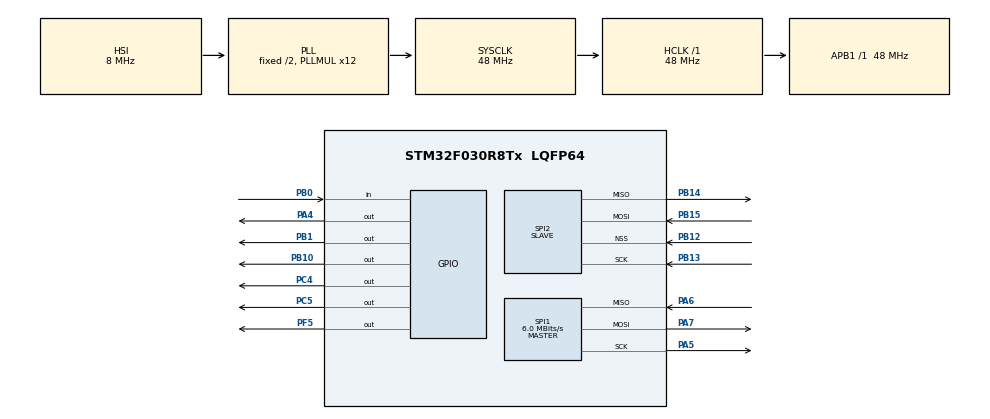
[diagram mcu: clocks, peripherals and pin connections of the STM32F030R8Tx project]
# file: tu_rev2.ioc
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Dma.Request0=SPI2_RX
Dma.Request1=SPI2_TX
Dma.Request2=SPI1_RX
Dma.Request3=SPI1_TX
Dma.SPI1_RX.2.Direction=DMA_PERIPH_TO_MEMORY
Dma.SPI1_RX.2.Instance=DMA1_Channel2
Dma.SPI1_RX.2.MemDataAlignment=DMA_MDATAALIGN_BYTE
Dma.SPI1_RX.2.MemInc=DMA_MINC_ENABLE
Dma.SPI1_RX.2.Mode=DMA_NORMAL
Dma.SPI1_RX.2.PeriphDataAlignment=DMA_PDATAALIGN_BYTE
Dma.SPI1_RX.2.PeriphInc=DMA_PINC_DISABLE
Dma.SPI1_RX.2.Priority=DMA_PRIORITY_VERY_HIGH
Dma.SPI1_TX.3.Direction=DMA_MEMORY_TO_PERIPH
Dma.SPI1_TX.3.Instance=DMA1_Channel3
Dma.SPI1_TX.3.MemDataAlignment=DMA_MDATAALIGN_BYTE
Dma.SPI1_TX.3.MemInc=DMA_MINC_ENABLE
Dma.SPI1_TX.3.Mode=DMA_NORMAL
Dma.SPI1_TX.3.PeriphDataAlignment=DMA_PDATAALIGN_BYTE
Dma.SPI1_TX.3.PeriphInc=DMA_PINC_DISABLE
Dma.SPI1_TX.3.Priority=DMA_PRIORITY_VERY_HIGH
Dma.SPI2_RX.0.Direction=DMA_PERIPH_TO_MEMORY
Dma.SPI2_RX.0.Instance=DMA1_Channel4
Dma.SPI2_RX.0.MemDataAlignment=DMA_MDATAALIGN_BYTE
Dma.SPI2_RX.0.MemInc=DMA_MINC_ENABLE
Dma.SPI2_RX.0.Mode=DMA_NORMAL
Dma.SPI2_RX.0.PeriphDataAlignment=DMA_PDATAALIGN_BYTE
Dma.SPI2_RX.0.PeriphInc=DMA_PINC_DISABLE
Dma.SPI2_RX.0.Priority=DMA_PRIORITY_VERY_HIGH
Dma.SPI2_TX.1.Direction=DMA_MEMORY_TO_PERIPH
Dma.SPI2_TX.1.Instance=DMA1_Channel5
Dma.SPI2_TX.1.MemDataAlignment=DMA_MDATAALIGN_BYTE
Dma.SPI2_TX.1.MemInc=DMA_MINC_ENABLE
Dma.SPI2_TX.1.Mode=DMA_NORMAL
Dma.SPI2_TX.1.PeriphDataAlignment=DMA_PDATAALIGN_BYTE
Dma.SPI2_TX.1.PeriphInc=DMA_PINC_DISABLE
Dma.SPI2_TX.1.Priority=DMA_PRIORITY_VERY_HIGH
IWDG.Prescaler=IWDG_PRESCALER_256
IWDG.Reload=4090
IWDG.Window=4095
Mcu.Family=STM32F0
Mcu.Name=STM32F030R8Tx
Mcu.Package=LQFP64
NVIC.DMA1_Channel2_3_IRQn=true\:0\:0\:true\:false\:true\:false\:true\:true
NVIC.DMA1_Channel4_5_IRQn=true\:0\:0\:false\:false\:true\:false\:true\:true
NVIC.SPI1_IRQn=true\:0\:0\:false\:false\:true\:true\:true\:true
NVIC.SPI2_IRQn=true\:0\:0\:false\:false\:true\:true\:true\:true
PA13.GPIO_Label=SWDIO
PA13.Mode=Serial_Wire
PA13.Signal=SYS_SWDIO
PA14.GPIO_Label=SWCLK
PA14.Mode=Serial_Wire
PA14.Signal=SYS_SWCLK
PA4.PinState=GPIO_PIN_SET
PA4.Signal=GPIO_Output
PA5.Mode=Full_Duplex_Master
PA5.Signal=SPI1_SCK
PA6.Mode=Full_Duplex_Master
PA6.Signal=SPI1_MISO
PA7.Mode=Full_Duplex_Master
PA7.Signal=SPI1_MOSI
PB0.GPIO_PuPd=GPIO_PULLUP
PB0.Signal=GPIO_Input
PB1.Signal=GPIO_Output
PB10.Signal=GPIO_Output
PB12.Mode=NSS_Signal_Hard_Input
PB12.Signal=SPI2_NSS
PB13.Mode=Full_Duplex_Slave
PB13.Signal=SPI2_SCK
PB14.Mode=Full_Duplex_Slave
PB14.Signal=SPI2_MISO
PB15.Mode=Full_Duplex_Slave
PB15.Signal=SPI2_MOSI
PC4.GPIO_Speed=GPIO_SPEED_FREQ_LOW
PC4.Signal=GPIO_Output
PC5.GPIO_Speed=GPIO_SPEED_FREQ_LOW
PC5.Signal=GPIO_Output
PF5.PinState=GPIO_PIN_SET
PF5.Signal=GPIO_Output
ProjectManager.HeapSize=0x200
ProjectManager.StackSize=0x400
ProjectManager.TargetToolchain=STM32CubeIDE
RCC.AHBFreq_Value=48000000
RCC.APB1Freq_Value=48000000
RCC.APB1TimFreq_Value=48000000
RCC.HCLKFreq_Value=48000000
RCC.PLLMUL=RCC_PLL_MUL12
RCC.SYSCLKFreq_VALUE=48000000
RCC.SYSCLKSource=RCC_SYSCLKSOURCE_PLLCLK
SPI1.BaudRatePrescaler=SPI_BAUDRATEPRESCALER_8
SPI1.CalculateBaudRate=6.0 MBits/s
SPI1.DataSize=SPI_DATASIZE_8BIT
SPI1.Direction=SPI_DIRECTION_2LINES
SPI1.Mode=SPI_MODE_MASTER
SPI1.VirtualType=VM_MASTER
SPI2.DataSize=SPI_DATASIZE_8BIT
SPI2.Direction=SPI_DIRECTION_2LINES
SPI2.Mode=SPI_MODE_SLAVE
SPI2.VirtualNSS=VM_NSSHARD
SPI2.VirtualType=VM_SLAVE
VP_IWDG_VS_IWDG.Mode=IWDG_Activate
board=32F0308DISCOVERY

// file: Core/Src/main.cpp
/* USER CODE BEGIN Header */
/**
  ******************************************************************************
  * @file           : main.c
  * @brief          : Main program body
  ******************************************************************************
  * @attention
  *
  * <h2><center>&copy; Copyright (c) 2023 STMicroelectronics.
  * All rights reserved.</center></h2>
  *
  * This software component is licensed by ST under BSD 3-Clause license,
  * the "License"; You may not use this file except in compliance with the
  * License. You may obtain a copy of the License at:
  *                        opensource.org/licenses/BSD-3-Clause
  *
  ******************************************************************************
  */
/* USER CODE END Header */

#include "main.h"

/* USER CODE BEGIN Includes */
#include "Ts.h"
/* USER CODE END Includes */

IWDG_HandleTypeDef hiwdg;

SPI_HandleTypeDef hspi1;
SPI_HandleTypeDef hspi2;
DMA_HandleTypeDef hdma_spi1_rx;
DMA_HandleTypeDef hdma_spi1_tx;
DMA_HandleTypeDef hdma_spi2_rx;
DMA_HandleTypeDef hdma_spi2_tx;

/* USER CODE BEGIN PV */
#define READY 0
#define BUSY 1
#define RECEIVED 2

uint8_t rxBuff[12] { 0 };
uint8_t txBuff[12] { 0, 0, 0, 0, 2, 0,
					 0, 0, 0, 0, 2, 0};

uint8_t *rx[2] { &rxBuff[0], &rxBuff[6] };
uint8_t *tx[2] { &txBuff[0], &txBuff[6] };

uint8_t rxSaved[4] { 0 };
uint8_t spiState[2] { 0 };
uint8_t spiBuffNum { 0 };

uint8_t tuState { 0 };
uint8_t tu[2] { 0 };
uint8_t shiftRegNum { 0 };
uint8_t sendTuNum { 0 };

Ts ts[16];
/* USER CODE END PV */

void SystemClock_Config(void);
static void MX_GPIO_Init(void);
static void MX_DMA_Init(void);
static void MX_SPI2_Init(void);
static void MX_SPI1_Init(void);
static void MX_IWDG_Init(void);

/* USER CODE BEGIN 0 */
void HAL_SPI_TxRxCpltCallback(SPI_HandleTypeDef *hspi) {
	if (hspi == &hspi2) {
		spiInterrupt(spiBuffNum);
	}
}

void spiInterrupt(uint8_t num) {
	spiState[num] = RECEIVED;
	uint8_t invNum = num ^ (1 << 0);
	if (spiState[invNum] == READY) {
		spiBuffNum = invNum;
		spiState[spiBuffNum] = BUSY;
		HAL_SPI_TransmitReceive_DMA(&hspi2, tx[spiBuffNum], rx[spiBuffNum], 6);
	}
}

void spiProcessing(uint8_t num) {
	uint8_t invNum = num ^ (1 << 0);
	if (spiState[invNum] == RECEIVED) {
		uint8_t rxSumm { 0 };
		for (uint8_t i = 0; i <= 4; i++) {
			rxSumm += rx[invNum][i];
		}
		if (rxSumm == rx[invNum][5] && tuState != BUSY) {
			HAL_IWDG_Refresh(&hiwdg);
			tx[invNum][2] = rx[invNum][2];
			tx[invNum][3] = rx[invNum][3];
			for (uint8_t i = 0; i <= 3; i++) {
				if (rx[invNum][i] != rxSaved[i]) {
					rxSaved[i] = rx[invNum][i];
					sendTuNum = 3;
				}
			}
		}
	}

	uint8_t tsNum { 0 };
	while (tsNum <= 7) {
		ts[tsNum].read(&tx[invNum][0], tsNum);
		++tsNum;
	}
	while (tsNum <= 15) {
		ts[tsNum].read(&tx[invNum][1], tsNum - 8);
		++tsNum;
	}

	tx[invNum][5] =  (tx[invNum][0] + tx[invNum][1] + tx[invNum][2] + tx[invNum][3] + tx[invNum][4]);
	spiState[invNum] = READY;
	if (spiState[num] == RECEIVED) {
		spiBuffNum = invNum;
		spiState[spiBuffNum] = BUSY;
		HAL_SPI_TransmitReceive_DMA(&hspi2, tx[spiBuffNum], rx[spiBuffNum], 6);
	}
}

void sendTu() {
	if (sendTuNum != 0 && tuState == READY) {
		tuState = BUSY;
		--sendTuNum;
		for (uint8_t n = 0; n <= 1; n++) {
			for (uint8_t i = 0; i <= 7; i++) {
				if (rxSaved[n + 2] & (1 << i)) {
					tu[n] |= (1 << (7 - i));
				} else {
					tu[n] &= ~(1 << (7 - i));
				}
			}
		}
		GPIOA->BRR = (1 << 4);
		HAL_SPI_Transmit_DMA(&hspi1, &tu[0], 1);
	}
}

void HAL_SPI_TxCpltCallback(SPI_HandleTypeDef *hspi) {
	if (hspi == &hspi1) {
		switch (shiftRegNum) {
		case 0:
			GPIOA->BSRR = (1 << 4);
			GPIOA->BRR = (1 << 4);
			GPIOA->BSRR = (1 << 4);

			GPIOF->BRR = (1 << 5);
			HAL_SPI_Transmit_DMA(&hspi1, &tu[1], 1);
			break;
		case 1:
			GPIOF->BSRR = (1 << 5);
			GPIOF->BRR = (1 << 5);
			GPIOF->BSRR = (1 << 5);
			tuState = READY;
		}
		shiftRegNum ^= (1 << 0);
	}
}

void HAL_SPI_ErrorCallback(SPI_HandleTypeDef *hspi) {
	HAL_SPI_Abort(hspi);
	__HAL_SPI_CLEAR_CRCERRFLAG(hspi);
	__HAL_SPI_CLEAR_FREFLAG(hspi);
	__HAL_SPI_CLEAR_MODFFLAG(hspi);
	__HAL_SPI_CLEAR_OVRFLAG(hspi);
	hspi->ErrorCode = HAL_SPI_ERROR_NONE;
	if (hspi == &hspi2) {
		HAL_SPI_TxRxCpltCallback(hspi);
	}
	if (hspi == &hspi1) {
		HAL_SPI_TxCpltCallback(hspi);
	}
}

void HAL_SPI_DMAErrorCallback(SPI_HandleTypeDef *hspi) {
	HAL_SPI_Abort(hspi);
	__HAL_SPI_CLEAR_CRCERRFLAG(hspi);
	__HAL_SPI_CLEAR_FREFLAG(hspi);
	__HAL_SPI_CLEAR_MODFFLAG(hspi);
	__HAL_SPI_CLEAR_OVRFLAG(hspi);
	hspi->ErrorCode = HAL_SPI_ERROR_NONE;
	if (hspi == &hspi2) {
		HAL_SPI_TxRxCpltCallback(hspi);
	}
	if (hspi == &hspi1) {
		HAL_SPI_TxCpltCallback(hspi);
	}
}

void tsInit() {
	for (int i = 0; i <= 15; i++) {
		ts[i].setOut(GPIOB, 0);
		ts[i].setSw(GPIOB, 1, GPIOB, 10, GPIOC, 5, GPIOC, 4);
	}
	ts[0].setPinNum(0);
		ts[1].setPinNum(1);
		ts[2].setPinNum(2);
		ts[3].setPinNum(3);
		ts[4].setPinNum(8);
		ts[5].setPinNum(9);
		ts[6].setPinNum(10);
		ts[7].setPinNum(11);
		ts[8].setPinNum(15);
		ts[9].setPinNum(14);
		ts[10].setPinNum(13);
		ts[11].setPinNum(12);
		ts[12].setPinNum(7);
		ts[13].setPinNum(6);//!!!!!!!!!!!
		ts[14].setPinNum(5);
		ts[15].setPinNum(4);
}
/* USER CODE END 0 */

int main(void)
{

  /* MCU Configuration--------------------------------------------------------*/

  /* Reset of all peripherals, Initializes the Flash interface and the Systick. */
  HAL_Init();

  /* Configure the system clock */
  SystemClock_Config();

  /* Initialize all configured peripherals */
  MX_GPIO_Init();
  MX_DMA_Init();
  MX_SPI2_Init();
  MX_SPI1_Init();
  MX_IWDG_Init();
  /* USER CODE BEGIN 2 */
  tsInit();

  spiState[0] = BUSY;
  spiBuffNum = 0;
  HAL_SPI_TransmitReceive_DMA(&hspi2, tx[0], rx[0], 6);
  /* USER CODE END 2 */

  /* Infinite loop */
  /* USER CODE BEGIN WHILE */
  while (1)
  {
	    /* Обработка приема по spi */
		spiProcessing(spiBuffNum);
		/* Отправка сигналов ТУ */
		sendTu();
    /* USER CODE END WHILE */

  }
}

void SystemClock_Config(void)
{
  RCC_OscInitTypeDef RCC_OscInitStruct = {0};
  RCC_ClkInitTypeDef RCC_ClkInitStruct = {0};

  /** Initializes the RCC Oscillators according to the specified parameters
  * in the RCC_OscInitTypeDef structure.
  */
  RCC_OscInitStruct.OscillatorType = RCC_OSCILLATORTYPE_HSI|RCC_OSCILLATORTYPE_LSI;
  RCC_OscInitStruct.HSIState = RCC_HSI_ON;
  RCC_OscInitStruct.HSICalibrationValue = RCC_HSICALIBRATION_DEFAULT;
  RCC_OscInitStruct.LSIState = RCC_LSI_ON;
  RCC_OscInitStruct.PLL.PLLState = RCC_PLL_ON;
  RCC_OscInitStruct.PLL.PLLSource = RCC_PLLSOURCE_HSI;
  RCC_OscInitStruct.PLL.PLLMUL = RCC_PLL_MUL12;
  RCC_OscInitStruct.PLL.PREDIV = RCC_PREDIV_DIV1;
  if (HAL_RCC_OscConfig(&RCC_OscInitStruct) != HAL_OK)
  {
    Error_Handler();
  }

  /** Initializes the CPU, AHB and APB buses clocks
  */
  RCC_ClkInitStruct.ClockType = RCC_CLOCKTYPE_HCLK|RCC_CLOCKTYPE_SYSCLK
                              |RCC_CLOCKTYPE_PCLK1;
  RCC_ClkInitStruct.SYSCLKSource = RCC_SYSCLKSOURCE_PLLCLK;
  RCC_ClkInitStruct.AHBCLKDivider = RCC_SYSCLK_DIV1;
  RCC_ClkInitStruct.APB1CLKDivider = RCC_HCLK_DIV1;

  if (HAL_RCC_ClockConfig(&RCC_ClkInitStruct, FLASH_LATENCY_1) != HAL_OK)
  {
    Error_Handler();
  }
}

static void MX_IWDG_Init(void)
{

  hiwdg.Instance = IWDG;
  hiwdg.Init.Prescaler = IWDG_PRESCALER_256;
  hiwdg.Init.Window = 1500;
  hiwdg.Init.Reload = 1500;
  if (HAL_IWDG_Init(&hiwdg) != HAL_OK)
  {
    Error_Handler();
  }

}

static void MX_SPI1_Init(void)
{

  /* SPI1 parameter configuration*/
  hspi1.Instance = SPI1;
  hspi1.Init.Mode = SPI_MODE_MASTER;
  hspi1.Init.Direction = SPI_DIRECTION_2LINES;
  hspi1.Init.DataSize = SPI_DATASIZE_8BIT;
  hspi1.Init.CLKPolarity = SPI_POLARITY_LOW;
  hspi1.Init.CLKPhase = SPI_PHASE_1EDGE;
  hspi1.Init.NSS = SPI_NSS_SOFT;
  hspi1.Init.BaudRatePrescaler = SPI_BAUDRATEPRESCALER_8;
  hspi1.Init.FirstBit = SPI_FIRSTBIT_MSB;
  hspi1.Init.TIMode = SPI_TIMODE_DISABLE;
  hspi1.Init.CRCCalculation = SPI_CRCCALCULATION_DISABLE;
  hspi1.Init.CRCPolynomial = 7;
  hspi1.Init.CRCLength = SPI_CRC_LENGTH_DATASIZE;
  hspi1.Init.NSSPMode = SPI_NSS_PULSE_ENABLE;
  if (HAL_SPI_Init(&hspi1) != HAL_OK)
  {
    Error_Handler();
  }

}

static void MX_SPI2_Init(void)
{

  /* SPI2 parameter configuration*/
  hspi2.Instance = SPI2;
  hspi2.Init.Mode = SPI_MODE_SLAVE;
  hspi2.Init.Direction = SPI_DIRECTION_2LINES;
  hspi2.Init.DataSize = SPI_DATASIZE_8BIT;
  hspi2.Init.CLKPolarity = SPI_POLARITY_LOW;
  hspi2.Init.CLKPhase = SPI_PHASE_1EDGE;
  hspi2.Init.NSS = SPI_NSS_HARD_INPUT;
  hspi2.Init.FirstBit = SPI_FIRSTBIT_MSB;
  hspi2.Init.TIMode = SPI_TIMODE_DISABLE;
  hspi2.Init.CRCCalculation = SPI_CRCCALCULATION_DISABLE;
  hspi2.Init.CRCPolynomial = 7;
  hspi2.Init.CRCLength = SPI_CRC_LENGTH_DATASIZE;
  hspi2.Init.NSSPMode = SPI_NSS_PULSE_DISABLE;
  if (HAL_SPI_Init(&hspi2) != HAL_OK)
  {
    Error_Handler();
  }

}

static void MX_DMA_Init(void)
{

  /* DMA controller clock enable */
  __HAL_RCC_DMA1_CLK_ENABLE();

  /* DMA interrupt init */
  /* DMA1_Channel2_3_IRQn interrupt configuration */
  HAL_NVIC_SetPriority(DMA1_Channel2_3_IRQn, 0, 0);
  HAL_NVIC_EnableIRQ(DMA1_Channel2_3_IRQn);
  /* DMA1_Channel4_5_IRQn interrupt configuration */
  HAL_NVIC_SetPriority(DMA1_Channel4_5_IRQn, 0, 0);
  HAL_NVIC_EnableIRQ(DMA1_Channel4_5_IRQn);

}

static void MX_GPIO_Init(void)
{
  GPIO_InitTypeDef GPIO_InitStruct = {0};

  /* GPIO Ports Clock Enable */
  __HAL_RCC_GPIOF_CLK_ENABLE();
  __HAL_RCC_GPIOA_CLK_ENABLE();
  __HAL_RCC_GPIOC_CLK_ENABLE();
  __HAL_RCC_GPIOB_CLK_ENABLE();

  /*Configure GPIO pin Output Level */
  HAL_GPIO_WritePin(GPIOF, GPIO_PIN_5, GPIO_PIN_SET);

  /*Configure GPIO pin Output Level */
  HAL_GPIO_WritePin(GPIOA, GPIO_PIN_4, GPIO_PIN_SET);

  /*Configure GPIO pin Output Level */
  HAL_GPIO_WritePin(GPIOC, GPIO_PIN_4|GPIO_PIN_5, GPIO_PIN_RESET);

  /*Configure GPIO pin Output Level */
  HAL_GPIO_WritePin(GPIOB, GPIO_PIN_1|GPIO_PIN_10, GPIO_PIN_RESET);

  /*Configure GPIO pin : PF5 */
  GPIO_InitStruct.Pin = GPIO_PIN_5;
  GPIO_InitStruct.Mode = GPIO_MODE_OUTPUT_PP;
  GPIO_InitStruct.Pull = GPIO_NOPULL;
  GPIO_InitStruct.Speed = GPIO_SPEED_FREQ_LOW;
  HAL_GPIO_Init(GPIOF, &GPIO_InitStruct);

  /*Configure GPIO pin : PA4 */
  GPIO_InitStruct.Pin = GPIO_PIN_4;
  GPIO_InitStruct.Mode = GPIO_MODE_OUTPUT_PP;
  GPIO_InitStruct.Pull = GPIO_NOPULL;
  GPIO_InitStruct.Speed = GPIO_SPEED_FREQ_LOW;
  HAL_GPIO_Init(GPIOA, &GPIO_InitStruct);

  /*Configure GPIO pins : PC4 PC5 */
  GPIO_InitStruct.Pin = GPIO_PIN_4|GPIO_PIN_5;
  GPIO_InitStruct.Mode = GPIO_MODE_OUTPUT_PP;
  GPIO_InitStruct.Pull = GPIO_NOPULL;
  GPIO_InitStruct.Speed = GPIO_SPEED_FREQ_LOW;
  HAL_GPIO_Init(GPIOC, &GPIO_InitStruct);

  /*Configure GPIO pin : PB0 */
  GPIO_InitStruct.Pin = GPIO_PIN_0;
  GPIO_InitStruct.Mode = GPIO_MODE_INPUT;
  GPIO_InitStruct.Pull = GPIO_PULLUP;
  HAL_GPIO_Init(GPIOB, &GPIO_InitStruct);

  /*Configure GPIO pins : PB1 PB10 */
  GPIO_InitStruct.Pin = GPIO_PIN_1|GPIO_PIN_10;
  GPIO_InitStruct.Mode = GPIO_MODE_OUTPUT_PP;
  GPIO_InitStruct.Pull = GPIO_NOPULL;
  GPIO_InitStruct.Speed = GPIO_SPEED_FREQ_LOW;
  HAL_GPIO_Init(GPIOB, &GPIO_InitStruct);

}

void Error_Handler(void)
{
  __disable_irq();
  while (1)
  {
  }
}
